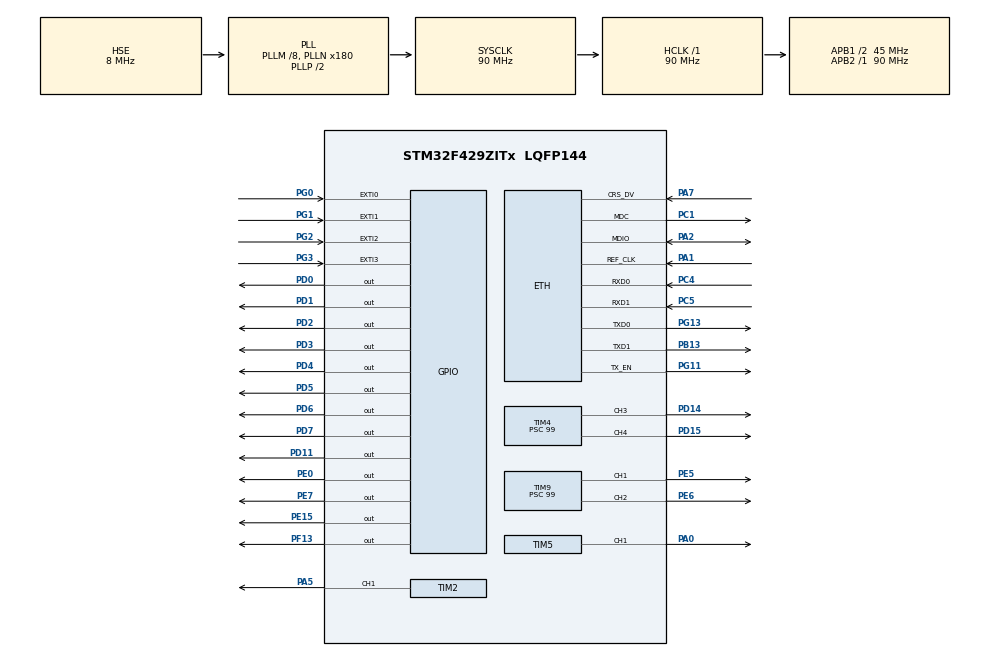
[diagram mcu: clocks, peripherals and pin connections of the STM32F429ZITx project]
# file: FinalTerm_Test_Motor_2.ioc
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ETH.MediaInterface=HAL_ETH_RMII_MODE
LWIP.BSP.number=1
LWIP.GATEWAY_ADDRESS=172.030.001.254
LWIP.IP_ADDRESS=172.030.001.025
LWIP.LWIP_DHCP=0
LWIP.NETMASK_ADDRESS=255.255.255.000
LWIP.Version=v2.1.2_Cube
LWIP0.BSP.STBoard=false
LWIP0.BSP.api=BSP_COMPONENT_DRIVER
LWIP0.BSP.component=LAN8742
LWIP0.BSP.instance=LAN8742
LWIP0.BSP.name=Driver_PHY
LWIP0.BSP.semaphore=S_LAN8742
LWIP0.BSP.solution=LAN8742
Mcu.Family=STM32F4
Mcu.Name=STM32F429ZITx
Mcu.Package=LQFP144
NVIC.EXTI0_IRQn=true\:0\:0\:false\:false\:true\:true\:true\:true
NVIC.EXTI1_IRQn=true\:0\:0\:false\:false\:true\:true\:true\:true
NVIC.EXTI2_IRQn=true\:0\:0\:false\:false\:true\:true\:true\:true
NVIC.EXTI3_IRQn=true\:0\:0\:false\:false\:true\:true\:true\:true
NVIC.PriorityGroup=NVIC_PRIORITYGROUP_4
NVIC.TIM1_BRK_TIM9_IRQn=true\:0\:0\:false\:false\:true\:true\:true\:true
NVIC.TIM2_IRQn=true\:0\:0\:false\:false\:true\:true\:true\:true
NVIC.TIM4_IRQn=true\:0\:0\:false\:false\:true\:true\:true\:true
NVIC.TIM5_IRQn=true\:0\:0\:false\:false\:true\:true\:true\:true
PA0/WKUP.Signal=S_TIM5_CH1
PA1.Mode=RMII
PA1.Signal=ETH_REF_CLK
PA13.Mode=Serial_Wire
PA13.Signal=SYS_JTMS-SWDIO
PA14.Mode=Serial_Wire
PA14.Signal=SYS_JTCK-SWCLK
PA2.Mode=RMII
PA2.Signal=ETH_MDIO
PA5.Signal=S_TIM2_CH1_ETR
PA7.Mode=RMII
PA7.Signal=ETH_CRS_DV
PB13.Mode=RMII
PB13.Signal=ETH_TXD1
PC1.Mode=RMII
PC1.Signal=ETH_MDC
PC4.Mode=RMII
PC4.Signal=ETH_RXD0
PC5.Mode=RMII
PC5.Signal=ETH_RXD1
PD0.GPIO_ModeDefaultOutputPP=GPIO_MODE_OUTPUT_PP
PD0.GPIO_PuPd=GPIO_PULLUP
PD0.GPIO_Speed=GPIO_SPEED_FREQ_HIGH
PD0.PinState=GPIO_PIN_RESET
PD0.Signal=GPIO_Output
PD1.GPIO_ModeDefaultOutputPP=GPIO_MODE_OUTPUT_PP
PD1.GPIO_PuPd=GPIO_PULLUP
PD1.GPIO_Speed=GPIO_SPEED_FREQ_HIGH
PD1.PinState=GPIO_PIN_RESET
PD1.Signal=GPIO_Output
PD11.GPIO_PuPd=GPIO_PULLUP
PD11.GPIO_Speed=GPIO_SPEED_FREQ_HIGH
PD11.Signal=GPIO_Output
PD14.Signal=S_TIM4_CH3
PD15.Signal=S_TIM4_CH4
PD2.GPIO_ModeDefaultOutputPP=GPIO_MODE_OUTPUT_PP
PD2.GPIO_PuPd=GPIO_PULLUP
PD2.GPIO_Speed=GPIO_SPEED_FREQ_HIGH
PD2.PinState=GPIO_PIN_RESET
PD2.Signal=GPIO_Output
PD3.GPIO_ModeDefaultOutputPP=GPIO_MODE_OUTPUT_PP
PD3.GPIO_PuPd=GPIO_PULLUP
PD3.GPIO_Speed=GPIO_SPEED_FREQ_HIGH
PD3.PinState=GPIO_PIN_RESET
PD3.Signal=GPIO_Output
PD4.GPIO_PuPd=GPIO_PULLUP
PD4.GPIO_Speed=GPIO_SPEED_FREQ_HIGH
PD4.Signal=GPIO_Output
PD5.GPIO_ModeDefaultOutputPP=GPIO_MODE_OUTPUT_PP
PD5.GPIO_PuPd=GPIO_PULLUP
PD5.GPIO_Speed=GPIO_SPEED_FREQ_HIGH
PD5.PinState=GPIO_PIN_RESET
PD5.Signal=GPIO_Output
PD6.GPIO_ModeDefaultOutputPP=GPIO_MODE_OUTPUT_PP
PD6.GPIO_PuPd=GPIO_PULLUP
PD6.GPIO_Speed=GPIO_SPEED_FREQ_HIGH
PD6.PinState=GPIO_PIN_RESET
PD6.Signal=GPIO_Output
PD7.GPIO_ModeDefaultOutputPP=GPIO_MODE_OUTPUT_PP
PD7.GPIO_PuPd=GPIO_PULLUP
PD7.GPIO_Speed=GPIO_SPEED_FREQ_HIGH
PD7.PinState=GPIO_PIN_RESET
PD7.Signal=GPIO_Output
PE0.GPIO_ModeDefaultOutputPP=GPIO_MODE_OUTPUT_PP
PE0.GPIO_PuPd=GPIO_PULLUP
PE0.GPIO_Speed=GPIO_SPEED_FREQ_HIGH
PE0.PinState=GPIO_PIN_RESET
PE0.Signal=GPIO_Output
PE15.GPIO_ModeDefaultOutputPP=GPIO_MODE_OUTPUT_PP
PE15.GPIO_PuPd=GPIO_PULLUP
PE15.GPIO_Speed=GPIO_SPEED_FREQ_HIGH
PE15.PinState=GPIO_PIN_RESET
PE15.Signal=GPIO_Output
PE5.Signal=S_TIM9_CH1
PE6.Signal=S_TIM9_CH2
PE7.GPIO_ModeDefaultOutputPP=GPIO_MODE_OUTPUT_PP
PE7.GPIO_PuPd=GPIO_PULLUP
PE7.GPIO_Speed=GPIO_SPEED_FREQ_HIGH
PE7.PinState=GPIO_PIN_RESET
PE7.Signal=GPIO_Output
PF13.GPIO_PuPd=GPIO_PULLUP
PF13.GPIO_Speed=GPIO_SPEED_FREQ_HIGH
PF13.Signal=GPIO_Output
PG0.GPIO_ModeDefaultEXTI=GPIO_MODE_IT_FALLING
PG0.GPIO_PuPd=GPIO_NOPULL
PG0.Signal=GPXTI0
PG1.GPIO_ModeDefaultEXTI=GPIO_MODE_IT_FALLING
PG1.GPIO_PuPd=GPIO_NOPULL
PG1.Signal=GPXTI1
PG11.Mode=RMII
PG11.Signal=ETH_TX_EN
PG13.Mode=RMII
PG13.Signal=ETH_TXD0
PG2.GPIO_ModeDefaultEXTI=GPIO_MODE_IT_FALLING
PG2.GPIO_PuPd=GPIO_NOPULL
PG2.Signal=GPXTI2
PG3.GPIO_ModeDefaultEXTI=GPIO_MODE_IT_FALLING
PG3.GPIO_PuPd=GPIO_NOPULL
PG3.Signal=GPXTI3
PH0/OSC_IN.Mode=HSE-External-Clock-Source
PH0/OSC_IN.Signal=RCC_OSC_IN
PH1/OSC_OUT.Mode=HSE-External-Clock-Source
PH1/OSC_OUT.Signal=RCC_OSC_OUT
ProjectManager.HeapSize=0x200
ProjectManager.StackSize=0x400
ProjectManager.TargetToolchain=STM32CubeIDE
RCC.48MHZClocksFreq_Value=45000000
RCC.AHBFreq_Value=90000000
RCC.APB1CLKDivider=RCC_HCLK_DIV2
RCC.APB1Freq_Value=45000000
RCC.APB1TimFreq_Value=90000000
RCC.APB2Freq_Value=90000000
RCC.APB2TimFreq_Value=90000000
RCC.CortexFreq_Value=90000000
RCC.HCLKFreq_Value=90000000
RCC.HSE_VALUE=8000000
RCC.HSI_VALUE=16000000
RCC.LSE_VALUE=32768
RCC.PLLM=8
RCC.PLLN=180
RCC.PLLSourceVirtual=RCC_PLLSOURCE_HSE
RCC.SYSCLKFreq_VALUE=90000000
RCC.SYSCLKSource=RCC_SYSCLKSOURCE_PLLCLK
RCC.VCOOutputFreq_Value=180000000
SH.S_TIM2_CH1_ETR.0=TIM2_CH1,PWM Generation1 CH1
SH.S_TIM4_CH3.0=TIM4_CH3,PWM Generation3 CH3
SH.S_TIM4_CH4.0=TIM4_CH4,PWM Generation4 CH4
SH.S_TIM5_CH1.0=TIM5_CH1,PWM Generation1 CH1
SH.S_TIM9_CH1.0=TIM9_CH1,PWM Generation1 CH1
SH.S_TIM9_CH2.0=TIM9_CH2,PWM Generation2 CH2
TIM2.Channel-PWM\ Generation1\ CH1=TIM_CHANNEL_1
TIM2.Period=99
TIM2.Prescaler=8999
TIM2.Pulse-PWM\ Generation1\ CH1=49
TIM4.Channel-PWM\ Generation3\ CH3=TIM_CHANNEL_3
TIM4.Channel-PWM\ Generation4\ CH4=TIM_CHANNEL_4
TIM4.Period=999
TIM4.Prescaler=99
TIM4.Pulse-PWM\ Generation3\ CH3=199
TIM4.Pulse-PWM\ Generation4\ CH4=199
TIM5.Channel-PWM\ Generation1\ CH1=TIM_CHANNEL_1
TIM5.Period=99
TIM5.Prescaler=8999
TIM5.Pulse-PWM\ Generation1\ CH1=49
TIM9.Channel-PWM\ Generation1\ CH1=TIM_CHANNEL_1
TIM9.Channel-PWM\ Generation2\ CH2=TIM_CHANNEL_2
TIM9.Period=999
TIM9.Prescaler=99
TIM9.Pulse-PWM\ Generation1\ CH1=199
TIM9.Pulse-PWM\ Generation2\ CH2=199
VP_LWIP_VS_Enabled.Mode=Enabled
VP_TIM2_VS_ClockSourceINT.Mode=Internal
VP_TIM4_VS_ClockSourceINT.Mode=Internal
VP_TIM5_VS_ClockSourceINT.Mode=Internal
VP_TIM9_VS_ClockSourceINT.Mode=Internal
board=custom

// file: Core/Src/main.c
/* USER CODE BEGIN Header */
/**
  ******************************************************************************
  * @file           : main.c
  * @brief          : Main program body
  ******************************************************************************
  * @attention
  *
  * Copyright (c) 2023 STMicroelectronics.
  * All rights reserved.
  *
  * This software is licensed under terms that can be found in the LICENSE file
  * in the root directory of this software component.
  * If no LICENSE file comes with this software, it is provided AS-IS.
  *
  ******************************************************************************
  */
/* USER CODE END Header */
#include "main.h"
#include "lwip.h"

TIM_HandleTypeDef htim2;
TIM_HandleTypeDef htim4;
TIM_HandleTypeDef htim5;
TIM_HandleTypeDef htim9;

void SystemClock_Config(void);
static void MX_GPIO_Init(void);
static void MX_TIM2_Init(void);
static void MX_TIM5_Init(void);
static void MX_TIM9_Init(void);
static void MX_TIM4_Init(void);
/* USER CODE BEGIN PFP */

void LED_OnOff(int, int);

/* USER CODE END PFP */

int main(void)
{

  /* MCU Configuration--------------------------------------------------------*/

  /* Reset of all peripherals, Initializes the Flash interface and the Systick. */
  HAL_Init();

  /* Configure the system clock */
  SystemClock_Config();

  /* Initialize all configured peripherals */
  MX_GPIO_Init();
  MX_TIM2_Init();
  MX_TIM5_Init();
  MX_TIM9_Init();
  MX_TIM4_Init();
  MX_LWIP_Init();
  /* USER CODE BEGIN 2 */

  LED_OnOff(LED_ALL, 500);
  HAL_TIM_Base_Start(&htim2);
  HAL_TIM_PWM_Start(&htim2, TIM_CHANNEL_1);
  HAL_TIM_Base_Start(&htim5);
  HAL_TIM_PWM_Start(&htim5, TIM_CHANNEL_1);

  /* USER CODE END 2 */

  /* Infinite loop */
  while (1)
  {

  }
}

void SystemClock_Config(void)
{
  RCC_OscInitTypeDef RCC_OscInitStruct = {0};
  RCC_ClkInitTypeDef RCC_ClkInitStruct = {0};

  /** Configure the main internal regulator output voltage
  */
  __HAL_RCC_PWR_CLK_ENABLE();
  __HAL_PWR_VOLTAGESCALING_CONFIG(PWR_REGULATOR_VOLTAGE_SCALE3);

  /** Initializes the RCC Oscillators according to the specified parameters
  * in the RCC_OscInitTypeDef structure.
  */
  RCC_OscInitStruct.OscillatorType = RCC_OSCILLATORTYPE_HSE;
  RCC_OscInitStruct.HSEState = RCC_HSE_BYPASS;
  RCC_OscInitStruct.PLL.PLLState = RCC_PLL_ON;
  RCC_OscInitStruct.PLL.PLLSource = RCC_PLLSOURCE_HSE;
  RCC_OscInitStruct.PLL.PLLM = 8;
  RCC_OscInitStruct.PLL.PLLN = 180;
  RCC_OscInitStruct.PLL.PLLP = RCC_PLLP_DIV2;
  RCC_OscInitStruct.PLL.PLLQ = 4;
  if (HAL_RCC_OscConfig(&RCC_OscInitStruct) != HAL_OK)
  {
    Error_Handler();
  }

  /** Activate the Over-Drive mode
  */
  if (HAL_PWREx_EnableOverDrive() != HAL_OK)
  {
    Error_Handler();
  }

  /** Initializes the CPU, AHB and APB buses clocks
  */
  RCC_ClkInitStruct.ClockType = RCC_CLOCKTYPE_HCLK|RCC_CLOCKTYPE_SYSCLK
                              |RCC_CLOCKTYPE_PCLK1|RCC_CLOCKTYPE_PCLK2;
  RCC_ClkInitStruct.SYSCLKSource = RCC_SYSCLKSOURCE_PLLCLK;
  RCC_ClkInitStruct.AHBCLKDivider = RCC_SYSCLK_DIV1;
  RCC_ClkInitStruct.APB1CLKDivider = RCC_HCLK_DIV2;
  RCC_ClkInitStruct.APB2CLKDivider = RCC_HCLK_DIV1;

  if (HAL_RCC_ClockConfig(&RCC_ClkInitStruct, FLASH_LATENCY_2) != HAL_OK)
  {
    Error_Handler();
  }
}

static void MX_TIM2_Init(void)
{

  TIM_ClockConfigTypeDef sClockSourceConfig = {0};
  TIM_MasterConfigTypeDef sMasterConfig = {0};
  TIM_OC_InitTypeDef sConfigOC = {0};

  htim2.Instance = TIM2;
  htim2.Init.Prescaler = 8999;
  htim2.Init.CounterMode = TIM_COUNTERMODE_UP;
  htim2.Init.Period = 99;
  htim2.Init.ClockDivision = TIM_CLOCKDIVISION_DIV1;
  htim2.Init.AutoReloadPreload = TIM_AUTORELOAD_PRELOAD_DISABLE;
  if (HAL_TIM_Base_Init(&htim2) != HAL_OK)
  {
    Error_Handler();
  }
  sClockSourceConfig.ClockSource = TIM_CLOCKSOURCE_INTERNAL;
  if (HAL_TIM_ConfigClockSource(&htim2, &sClockSourceConfig) != HAL_OK)
  {
    Error_Handler();
  }
  if (HAL_TIM_PWM_Init(&htim2) != HAL_OK)
  {
    Error_Handler();
  }
  sMasterConfig.MasterOutputTrigger = TIM_TRGO_RESET;
  sMasterConfig.MasterSlaveMode = TIM_MASTERSLAVEMODE_DISABLE;
  if (HAL_TIMEx_MasterConfigSynchronization(&htim2, &sMasterConfig) != HAL_OK)
  {
    Error_Handler();
  }
  sConfigOC.OCMode = TIM_OCMODE_PWM1;
  sConfigOC.Pulse = 49;
  sConfigOC.OCPolarity = TIM_OCPOLARITY_HIGH;
  sConfigOC.OCFastMode = TIM_OCFAST_DISABLE;
  if (HAL_TIM_PWM_ConfigChannel(&htim2, &sConfigOC, TIM_CHANNEL_1) != HAL_OK)
  {
    Error_Handler();
  }
  HAL_TIM_MspPostInit(&htim2);

}

static void MX_TIM4_Init(void)
{

  TIM_ClockConfigTypeDef sClockSourceConfig = {0};
  TIM_MasterConfigTypeDef sMasterConfig = {0};
  TIM_OC_InitTypeDef sConfigOC = {0};

  htim4.Instance = TIM4;
  htim4.Init.Prescaler = 99;
  htim4.Init.CounterMode = TIM_COUNTERMODE_UP;
  htim4.Init.Period = 999;
  htim4.Init.ClockDivision = TIM_CLOCKDIVISION_DIV1;
  htim4.Init.AutoReloadPreload = TIM_AUTORELOAD_PRELOAD_DISABLE;
  if (HAL_TIM_Base_Init(&htim4) != HAL_OK)
  {
    Error_Handler();
  }
  sClockSourceConfig.ClockSource = TIM_CLOCKSOURCE_INTERNAL;
  if (HAL_TIM_ConfigClockSource(&htim4, &sClockSourceConfig) != HAL_OK)
  {
    Error_Handler();
  }
  if (HAL_TIM_PWM_Init(&htim4) != HAL_OK)
  {
    Error_Handler();
  }
  sMasterConfig.MasterOutputTrigger = TIM_TRGO_RESET;
  sMasterConfig.MasterSlaveMode = TIM_MASTERSLAVEMODE_DISABLE;
  if (HAL_TIMEx_MasterConfigSynchronization(&htim4, &sMasterConfig) != HAL_OK)
  {
    Error_Handler();
  }
  sConfigOC.OCMode = TIM_OCMODE_PWM1;
  sConfigOC.Pulse = 199;
  sConfigOC.OCPolarity = TIM_OCPOLARITY_HIGH;
  sConfigOC.OCFastMode = TIM_OCFAST_DISABLE;
  if (HAL_TIM_PWM_ConfigChannel(&htim4, &sConfigOC, TIM_CHANNEL_3) != HAL_OK)
  {
    Error_Handler();
  }
  if (HAL_TIM_PWM_ConfigChannel(&htim4, &sConfigOC, TIM_CHANNEL_4) != HAL_OK)
  {
    Error_Handler();
  }
  HAL_TIM_MspPostInit(&htim4);

}

static void MX_TIM5_Init(void)
{

  TIM_ClockConfigTypeDef sClockSourceConfig = {0};
  TIM_MasterConfigTypeDef sMasterConfig = {0};
  TIM_OC_InitTypeDef sConfigOC = {0};

  htim5.Instance = TIM5;
  htim5.Init.Prescaler = 8999;
  htim5.Init.CounterMode = TIM_COUNTERMODE_UP;
  htim5.Init.Period = 99;
  htim5.Init.ClockDivision = TIM_CLOCKDIVISION_DIV1;
  htim5.Init.AutoReloadPreload = TIM_AUTORELOAD_PRELOAD_DISABLE;
  if (HAL_TIM_Base_Init(&htim5) != HAL_OK)
  {
    Error_Handler();
  }
  sClockSourceConfig.ClockSource = TIM_CLOCKSOURCE_INTERNAL;
  if (HAL_TIM_ConfigClockSource(&htim5, &sClockSourceConfig) != HAL_OK)
  {
    Error_Handler();
  }
  if (HAL_TIM_PWM_Init(&htim5) != HAL_OK)
  {
    Error_Handler();
  }
  sMasterConfig.MasterOutputTrigger = TIM_TRGO_RESET;
  sMasterConfig.MasterSlaveMode = TIM_MASTERSLAVEMODE_DISABLE;
  if (HAL_TIMEx_MasterConfigSynchronization(&htim5, &sMasterConfig) != HAL_OK)
  {
    Error_Handler();
  }
  sConfigOC.OCMode = TIM_OCMODE_PWM1;
  sConfigOC.Pulse = 49;
  sConfigOC.OCPolarity = TIM_OCPOLARITY_HIGH;
  sConfigOC.OCFastMode = TIM_OCFAST_DISABLE;
  if (HAL_TIM_PWM_ConfigChannel(&htim5, &sConfigOC, TIM_CHANNEL_1) != HAL_OK)
  {
    Error_Handler();
  }
  HAL_TIM_MspPostInit(&htim5);

}

static void MX_TIM9_Init(void)
{

  TIM_ClockConfigTypeDef sClockSourceConfig = {0};
  TIM_OC_InitTypeDef sConfigOC = {0};

  htim9.Instance = TIM9;
  htim9.Init.Prescaler = 99;
  htim9.Init.CounterMode = TIM_COUNTERMODE_UP;
  htim9.Init.Period = 999;
  htim9.Init.ClockDivision = TIM_CLOCKDIVISION_DIV1;
  htim9.Init.AutoReloadPreload = TIM_AUTORELOAD_PRELOAD_DISABLE;
  if (HAL_TIM_Base_Init(&htim9) != HAL_OK)
  {
    Error_Handler();
  }
  sClockSourceConfig.ClockSource = TIM_CLOCKSOURCE_INTERNAL;
  if (HAL_TIM_ConfigClockSource(&htim9, &sClockSourceConfig) != HAL_OK)
  {
    Error_Handler();
  }
  if (HAL_TIM_PWM_Init(&htim9) != HAL_OK)
  {
    Error_Handler();
  }
  sConfigOC.OCMode = TIM_OCMODE_PWM1;
  sConfigOC.Pulse = 199;
  sConfigOC.OCPolarity = TIM_OCPOLARITY_HIGH;
  sConfigOC.OCFastMode = TIM_OCFAST_DISABLE;
  if (HAL_TIM_PWM_ConfigChannel(&htim9, &sConfigOC, TIM_CHANNEL_1) != HAL_OK)
  {
    Error_Handler();
  }
  if (HAL_TIM_PWM_ConfigChannel(&htim9, &sConfigOC, TIM_CHANNEL_2) != HAL_OK)
  {
    Error_Handler();
  }
  HAL_TIM_MspPostInit(&htim9);

}

static void MX_GPIO_Init(void)
{
  GPIO_InitTypeDef GPIO_InitStruct = {0};

  /* GPIO Ports Clock Enable */
  __HAL_RCC_GPIOE_CLK_ENABLE();
  __HAL_RCC_GPIOH_CLK_ENABLE();
  __HAL_RCC_GPIOC_CLK_ENABLE();
  __HAL_RCC_GPIOA_CLK_ENABLE();
  __HAL_RCC_GPIOF_CLK_ENABLE();
  __HAL_RCC_GPIOG_CLK_ENABLE();
  __HAL_RCC_GPIOB_CLK_ENABLE();
  __HAL_RCC_GPIOD_CLK_ENABLE();

  /*Configure GPIO pin Output Level */
  HAL_GPIO_WritePin(GPIOF, GPIO_PIN_13, GPIO_PIN_RESET);

  /*Configure GPIO pin Output Level */
  HAL_GPIO_WritePin(GPIOE, GPIO_PIN_7|GPIO_PIN_15|GPIO_PIN_0, GPIO_PIN_RESET);

  /*Configure GPIO pin Output Level */
  HAL_GPIO_WritePin(GPIOD, GPIO_PIN_11|GPIO_PIN_0|GPIO_PIN_1|GPIO_PIN_2
                          |GPIO_PIN_3|GPIO_PIN_4|GPIO_PIN_5|GPIO_PIN_6
                          |GPIO_PIN_7, GPIO_PIN_RESET);

  /*Configure GPIO pin : PF13 */
  GPIO_InitStruct.Pin = GPIO_PIN_13;
  GPIO_InitStruct.Mode = GPIO_MODE_OUTPUT_PP;
  GPIO_InitStruct.Pull = GPIO_PULLUP;
  GPIO_InitStruct.Speed = GPIO_SPEED_FREQ_HIGH;
  HAL_GPIO_Init(GPIOF, &GPIO_InitStruct);

  /*Configure GPIO pins : PG0 PG1 PG2 PG3 */
  GPIO_InitStruct.Pin = GPIO_PIN_0|GPIO_PIN_1|GPIO_PIN_2|GPIO_PIN_3;
  GPIO_InitStruct.Mode = GPIO_MODE_IT_FALLING;
  GPIO_InitStruct.Pull = GPIO_NOPULL;
  HAL_GPIO_Init(GPIOG, &GPIO_InitStruct);

  /*Configure GPIO pins : PE7 PE15 PE0 */
  GPIO_InitStruct.Pin = GPIO_PIN_7|GPIO_PIN_15|GPIO_PIN_0;
  GPIO_InitStruct.Mode = GPIO_MODE_OUTPUT_PP;
  GPIO_InitStruct.Pull = GPIO_PULLUP;
  GPIO_InitStruct.Speed = GPIO_SPEED_FREQ_HIGH;
  HAL_GPIO_Init(GPIOE, &GPIO_InitStruct);

  /*Configure GPIO pins : PD11 PD0 PD1 PD2
                           PD3 PD4 PD5 PD6
                           PD7 */
  GPIO_InitStruct.Pin = GPIO_PIN_11|GPIO_PIN_0|GPIO_PIN_1|GPIO_PIN_2
                          |GPIO_PIN_3|GPIO_PIN_4|GPIO_PIN_5|GPIO_PIN_6
                          |GPIO_PIN_7;
  GPIO_InitStruct.Mode = GPIO_MODE_OUTPUT_PP;
  GPIO_InitStruct.Pull = GPIO_PULLUP;
  GPIO_InitStruct.Speed = GPIO_SPEED_FREQ_HIGH;
  HAL_GPIO_Init(GPIOD, &GPIO_InitStruct);

  /* EXTI interrupt init*/
  HAL_NVIC_SetPriority(EXTI0_IRQn, 0, 0);
  HAL_NVIC_EnableIRQ(EXTI0_IRQn);

  HAL_NVIC_SetPriority(EXTI1_IRQn, 0, 0);
  HAL_NVIC_EnableIRQ(EXTI1_IRQn);

  HAL_NVIC_SetPriority(EXTI2_IRQn, 0, 0);
  HAL_NVIC_EnableIRQ(EXTI2_IRQn);

  HAL_NVIC_SetPriority(EXTI3_IRQn, 0, 0);
  HAL_NVIC_EnableIRQ(EXTI3_IRQn);

}

/* USER CODE BEGIN 4 */

void LED_OnOff(int led, int interval)
{
	HAL_GPIO_WritePin(GPIO_LED, led, GPIO_PIN_SET );
	HAL_GPIO_WritePin(GPIO_LED_Nucleo, led, GPIO_PIN_SET );
	HAL_Delay(interval);
	HAL_GPIO_WritePin(GPIO_LED, led, GPIO_PIN_RESET );
	HAL_GPIO_WritePin(GPIO_LED_Nucleo, led, GPIO_PIN_RESET );
}
void HAL_GPIO_EXTI_Callback(uint16_t GPIO_PIN)
{
/*	TIM_OC_InitTypeDef sConfigOC_PWM = {0} ;
	sConfigOC_PWM.OCMode = TIM_OCMODE_PWM1;
	if ( GPIO_PIN == SW1) sConfigOC_PWM.Pulse = 999;
	else if ( GPIO_PIN == SW2) sConfigOC_PWM.Pulse = 2999;
	else if ( GPIO_PIN == SW3) sConfigOC_PWM.Pulse = 4999;
	else if ( GPIO_PIN == SW4) sConfigOC_PWM.Pulse = 9999;
	HAL_TIM_PWM_ConfigChannel(&htim2, &sConfigOC_PWM, TIM_CHANNEL_1);
	HAL_TIM_PWM_Start(&htim2, TIM_CHANNEL_1);*/

	int mp = 0;

//	HAL_GPIO_WritePin(GPIOE, led, GPIO_PIN_SET );
	HAL_GPIO_WritePin(GPIOE, GPIO_PIN_15, 1);
	HAL_GPIO_WritePin(GPIOE, GPIO_PIN_7, 1);
	HAL_GPIO_WritePin(GPIOE, GPIO_PIN_0, 0);
	HAL_GPIO_WritePin(GPIOD, GPIO_PIN_11, 1);
	HAL_GPIO_WritePin(GPIOF, GPIO_PIN_13, 1);
//	HAL_GPIO_

/*	if ( GPIO_PIN == SW1) mp = 999;
	else if ( GPIO_PIN == SW2) mp = 2999;
	else if ( GPIO_PIN == SW3) mp = 4999;
	else if ( GPIO_PIN == SW4) mp = 9999;*/

	if ( GPIO_PIN == SW1)
		{
			HAL_TIM_PWM_Start(&htim2, TIM_CHANNEL_1);
//			HAL_TIM_PWM_Start(&htim5, TIM_CHANNEL_1);
			HAL_TIM_PWM_Start(&htim9, TIM_CHANNEL_1);
			HAL_TIM_PWM_Stop(&htim9, TIM_CHANNEL_2);
			HAL_TIM_PWM_Start(&htim4, TIM_CHANNEL_3);
			HAL_TIM_PWM_Stop(&htim4, TIM_CHANNEL_4);

		}
	else if ( GPIO_PIN == SW2)
		{
//			HAL_TIM_PWM_Start(&htim2, TIM_CHANNEL_1);
			HAL_TIM_PWM_Start(&htim9, TIM_CHANNEL_2);
			HAL_TIM_PWM_Stop(&htim9, TIM_CHANNEL_1);
			HAL_TIM_PWM_Start(&htim4, TIM_CHANNEL_4);
			HAL_TIM_PWM_Stop(&htim4, TIM_CHANNEL_3);
		}
	else if ( GPIO_PIN == SW3)
		{
			HAL_TIM_PWM_Stop(&htim2, TIM_CHANNEL_1);
			HAL_TIM_PWM_Stop(&htim9, TIM_CHANNEL_1);
			HAL_TIM_PWM_Stop(&htim9, TIM_CHANNEL_2);
			HAL_TIM_PWM_Stop(&htim4, TIM_CHANNEL_3);
			HAL_TIM_PWM_Stop(&htim4, TIM_CHANNEL_4);
		}
	else if ( GPIO_PIN == SW4)
		{
			HAL_TIM_PWM_Start(&htim2, TIM_CHANNEL_1);
		}

//	__HAL_TIM_SET_COMPARE(&htim2, TIM_CHANNEL_1, mp);

//	  HAL_TIM_PWM_Start(&htim2, TIM_CHANNEL_1);

}

/* USER CODE END 4 */

void Error_Handler(void)
{
  __disable_irq();
  while (1)
  {
  }
}
